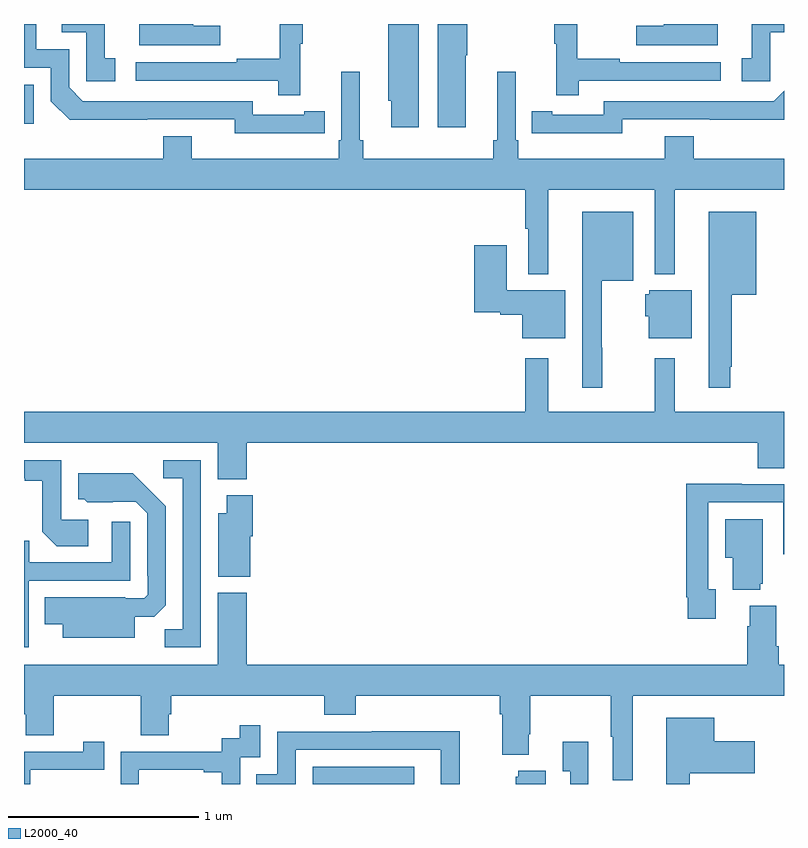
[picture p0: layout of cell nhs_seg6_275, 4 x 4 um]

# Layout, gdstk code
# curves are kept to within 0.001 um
import gdstk
lib = gdstk.Library(unit=1e-6, precision=1e-09)
def R(c, l, rs):  # rectangles x0, y0, x1, y1
    for r in rs: c.add(gdstk.rectangle(r[:2], r[2:], *l))
def P(c, l, *ps):  # polygons
    for p in ps: c.add(gdstk.Polygon(p, *l))
L2000_40 = (2000, 40)

nhs_seg6_275 = lib.new_cell('nhs_seg6_275')
R(nhs_seg6_275, L2000_40, [(126.519,985.5,127.054,985.59), (125,988.974,125.052,989.181)])
P(nhs_seg6_275, L2000_40, [(128.928,989.457),(129,989.457),(129,989.5),(128.831,989.5),(128.831,989.319),(128.778,989.319),(128.778,989.199),(128.928,989.199)],
  [(126.034,989.491),(125.891,989.491),(125.891,989.5),(125.606,989.5),(125.606,989.387),(126.034,989.387)],
  [(125.479,989.319),(125.426,989.319),(125.426,989.5),(125.199,989.5),(125.199,989.457),(125.328,989.457),(125.328,989.199),(125.479,989.199)],
  [(127.078,989.5),(126.917,989.5),(126.917,989.097),(126.932,989.097),(126.932,988.956),(127.078,988.956)],
  [(126.455,989.395),(126.466,989.395),(126.466,989.5),(126.345,989.5),(126.345,989.318),(126.121,989.318),(126.121,989.298),(125.589,989.298),(125.589,989.202),(126.337,989.202),(126.337,989.124),(126.455,989.124)],
  [(126.476,988.926),(126.584,988.926),(126.584,989.042),(126.476,989.042),(126.476,989.022),(126.204,989.022),(126.204,989.094),(125.31,989.094),(125.238,989.166),(125.238,989.367),(125.065,989.367),(125.065,989.5),(125,989.5),(125,989.271),(125.142,989.271),(125.142,989.094),(125.24,988.997),(126.108,988.998),(126.108,988.925)],
  [(127.324,989.335),(127.332,989.335),(127.332,989.5),(127.178,989.5),(127.178,988.956),(127.324,988.956)],
  [(127.919,989.202),(128.668,989.202),(128.668,989.298),(128.135,989.298),(128.135,989.318),(127.912,989.318),(127.912,989.5),(127.791,989.5),(127.791,989.395),(127.802,989.395),(127.802,989.124),(127.919,989.124)],
  [(128.65,989.5),(128.366,989.5),(128.366,989.491),(128.223,989.491),(128.223,989.387),(128.65,989.387)],
  [(127.759,988.628),(128.321,988.628),(128.321,988.184),(128.425,988.184),(128.425,988.628),(129,988.628),(129,988.792),(128.525,988.792),(128.525,988.909),(128.372,988.909),(128.372,988.792),(127.601,988.792),(127.601,988.888),(127.587,988.888),(127.587,989.248),(127.49,989.248),(127.49,988.888),(127.471,988.888),(127.471,988.792),(126.785,988.792),(126.785,988.888),(126.766,988.888),(126.766,989.248),(126.669,989.248),(126.669,988.888),(126.656,988.888),(126.656,988.792),(125.884,988.792),(125.884,988.909),(125.732,988.909),(125.732,988.792),(125,988.792),(125,988.628),(127.638,988.628),(127.638,988.423),(127.655,988.423),(127.655,988.184),(127.759,988.184)],
  [(128.148,988.998),(129,988.997),(129,989.148),(128.946,989.094),(128.052,989.094),(128.052,989.022),(127.78,989.022),(127.78,989.042),(127.672,989.042),(127.672,988.926),(128.148,988.925)],
  [(128.717,987.697),(128.725,987.697),(128.725,988.076),(128.854,988.076),(128.854,988.513),(128.603,988.513),(128.603,987.585),(128.717,987.585)],
  [(128.044,987.797),(128.041,987.797),(128.041,988.148),(128.206,988.148),(128.206,988.513),(127.937,988.513),(127.937,987.585),(128.044,987.585)],
  [(127.849,988.099),(127.54,988.099),(127.54,988.336),(127.37,988.336),(127.37,987.983),(127.506,987.983),(127.506,987.971),(127.622,987.971),(127.622,987.845),(127.849,987.845)],
  [(128.515,988.099),(128.292,988.099),(128.292,988.077),(128.27,988.077),(128.27,987.963),(128.288,987.963),(128.288,987.845),(128.515,987.845)],
  [(126.173,987.296),(128.861,987.296),(128.861,987.163),(129,987.163),(129,987.46),(128.425,987.46),(128.425,987.742),(128.319,987.742),(128.319,987.46),(127.759,987.46),(127.759,987.742),(127.638,987.742),(127.638,987.46),(125,987.46),(125,987.296),(126.02,987.296),(126.02,987.104),(126.173,987.104)],
  [(125.338,986.892),(125.196,986.892),(125.196,987.204),(125,987.204),(125,987.108),(125.003,987.108),(125.003,987.096),(125.097,987.096),(125.097,986.828),(125.173,986.752),(125.338,986.752)],
  [(125.931,987.204),(125.733,987.204),(125.733,987.108),(125.835,987.108),(125.835,986.315),(125.74,986.315),(125.74,986.22),(125.931,986.22)],
  [(125.584,986.381),(125.686,986.381),(125.745,986.44),(125.745,986.962),(125.573,987.136),(125.285,987.136),(125.285,987),(125.316,987),(125.332,986.984),(125.589,986.985),(125.649,986.925),(125.649,986.596),(125.652,986.596),(125.652,986.496),(125.634,986.478),(125.534,986.478),(125.534,986.482),(125.11,986.482),(125.11,986.342),(125.204,986.342),(125.204,986.27),(125.584,986.27)],
  [(128.641,986.526),(128.601,986.526),(128.601,986.982),(128.997,986.982),(128.997,986.709),(129,986.709),(129,987.078),(128.777,987.078),(128.777,987.08),(128.485,987.08),(128.485,986.482),(128.493,986.482),(128.493,986.37),(128.641,986.37)],
  [(126.19,986.805),(126.203,986.805),(126.203,987.019),(126.068,987.019),(126.068,986.926),(126.023,986.926),(126.023,986.591),(126.19,986.591)],
  [(128.876,986.553),(128.887,986.553),(128.887,986.893),(128.69,986.893),(128.69,986.69),(128.729,986.69),(128.729,986.522),(128.876,986.522)],
  [(125.025,986.571),(125.559,986.571),(125.559,986.881),(125.463,986.881),(125.463,986.667),(125.027,986.667),(125.027,986.78),(125,986.78),(125,986.22),(125.025,986.22)],
  [(128.203,985.964),(129,985.964),(129,986.128),(128.972,986.128),(128.972,986.224),(128.959,986.224),(128.959,986.437),(128.819,986.437),(128.819,986.33),(128.807,986.33),(128.807,986.128),(126.173,986.128),(126.173,986.506),(126.02,986.506),(126.02,986.128),(125,986.128),(125,985.866),(125.009,985.866),(125.009,985.756),(125.157,985.756),(125.157,985.964),(125.614,985.964),(125.614,985.756),(125.761,985.756),(125.761,985.866),(125.774,985.866),(125.774,985.964),(126.581,985.964),(126.581,985.865),(126.746,985.865),(126.746,985.964),(127.505,985.964),(127.505,985.868),(127.517,985.868),(127.517,985.655),(127.657,985.655),(127.657,985.762),(127.665,985.762),(127.665,985.964),(128.089,985.964),(128.089,985.748),(128.099,985.748),(128.099,985.52),(128.203,985.52)],
  [(128.503,985.556),(128.845,985.556),(128.845,985.726),(128.632,985.726),(128.632,985.849),(128.381,985.849),(128.381,985.5),(128.503,985.5)],
  [(125.604,985.575),(125.945,985.575),(125.945,985.563),(126.041,985.563),(126.041,985.5),(126.138,985.5),(126.138,985.641),(126.243,985.641),(126.243,985.81),(126.135,985.81),(126.135,985.74),(126.042,985.74),(126.042,985.671),(125.508,985.671),(125.508,985.5),(125.604,985.5)],
  [(126.429,985.68),(127.194,985.68),(127.194,985.5),(127.293,985.5),(127.293,985.778),(126.829,985.778),(126.829,985.776),(126.333,985.776),(126.333,985.551),(126.223,985.551),(126.223,985.5),(126.429,985.5)],
  [(125.034,985.575),(125.423,985.575),(125.423,985.723),(125.312,985.723),(125.312,985.671),(125,985.671),(125,985.5),(125.034,985.5)],
  [(127.971,985.723),(127.835,985.723),(127.835,985.567),(127.875,985.567),(127.875,985.5),(127.971,985.5)],
  [(127.747,985.57),(127.601,985.57),(127.601,985.539),(127.589,985.539),(127.589,985.5),(127.747,985.5)])

lib.write_gds('nhs_seg6_275.gds')
